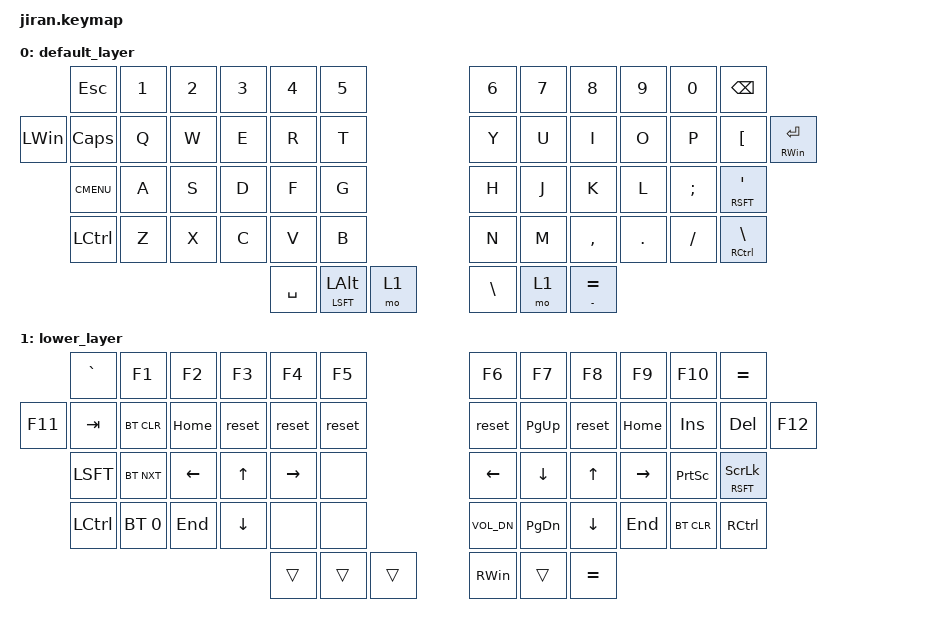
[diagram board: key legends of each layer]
/*
 * Copyright (c) 2021 The ZMK Contributors
 *
 * SPDX-License-Identifier: MIT
 */

#include <behaviors.dtsi>
#include <dt-bindings/zmk/keys.h>
#include <dt-bindings/zmk/bt.h>

/ {
        keymap {
                compatible = "zmk,keymap";

                default_layer {
                        bindings = <
           &kp ESC     &kp N1 &kp N2 &kp N3 &kp N4 &kp N5                       &kp N6 &kp N7  &kp N8   &kp N9  &kp N0   &kp BSPC
  &kp LWIN &kp CAPS    &kp Q  &kp W  &kp E  &kp R  &kp T                        &kp Y  &kp U   &kp I    &kp O   &kp P    &kp LBKT      &mt RWIN RET
           &kp K_CMENU &kp A  &kp S  &kp D  &kp F  &kp G                        &kp H  &kp J   &kp K    &kp L   &kp SCLN &mt RSFT SQT
           &kp LCTL    &kp Z  &kp X  &kp C  &kp V  &kp B                        &kp N  &kp M   &kp CMMA &kp DOT &kp FSLH &mt RCTL BSLH
                                           &kp SPC &mt LSFT LALT  &mo 1  &kp BSLH &mo 1  &mt MINUS EQUAL
                                   >;
                };
                lower_layer {
                       bindings = <
          &kp GRAVE &kp F1 &kp F2   &kp F3   &kp F4    &kp F5      &kp F6       &kp F7    &kp F8   &kp F9    &kp F10         &kp EQUAL
 &kp F11  &kp TAB   &bt BT_CLR   &kp HOME &reset   &reset     &reset       &reset &kp PG_UP &reset   &kp HOME  &kp INS    &kp DEL       &kp F12
          &kp LSFT  &bt BT_NXT   &kp LEFT &kp UP   &kp RIGHT &none       &kp LEFT     &kp DOWN  &kp UP   &kp RIGHT &kp PSCRN  &mt RSFT SLCK
          &kp LCTL  &bt BT_SEL 0 &kp END  &kp DOWN &none     &none       &kp C_VOL_DN &kp PG_DN &kp DOWN &kp END   &bt BT_CLR &kp RCTL
                                         &trans &trans &trans      &kp RWIN &trans &kp EQUAL
                                  >;
               };
        };
};
